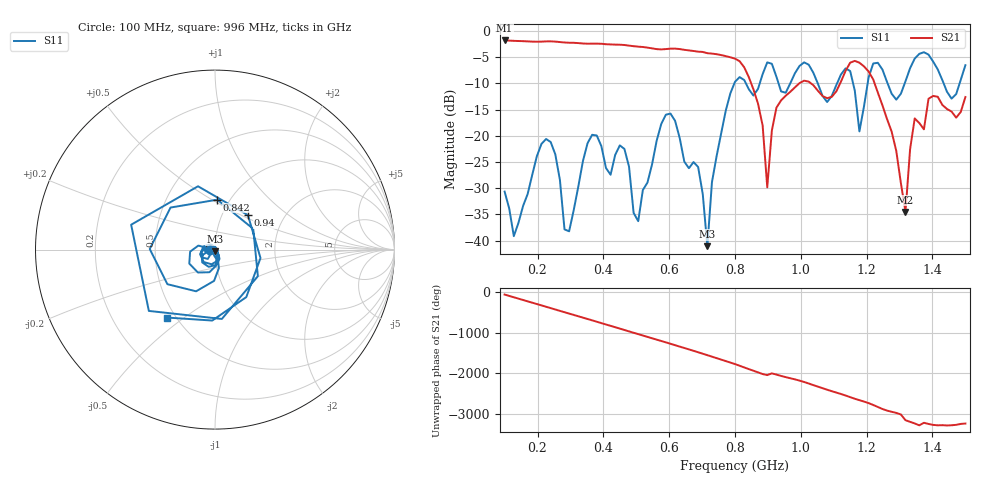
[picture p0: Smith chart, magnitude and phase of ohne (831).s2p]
! NanoVNA-App
! Date: 2025-09-25 14:27:16
! Start: 100MHz Stop: 1,5GHz Points: 101
! S-Parameter data: F S11 S21 S12 S22
# Hz S RI R 50
!  Frequency  S11_Real  S11_Imag  S21_Real  S21_Imag  S12_Real  S12_Imag  S22_Real  S22_Imag
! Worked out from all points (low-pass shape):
!   101 points, 100 MHz to 1.5 GHz, reference 50 ohm
!   highest |S21| = -1.79 dB at 100 MHz (marker M1); lowest = -34.5 dB at 1.318 GHz (marker M2)
!   |S21| within 3 dB of the highest: start of sweep to 772.5 MHz
!   lowest |S11| = -41.1 dB at 716 MHz (marker M3), VSWR 1.02, Z = 49.8 - j0.87 ohm
!   |S11| at or under -10 dB: start of sweep to 798 MHz; 833.2 MHz to 875.1 MHz (41.89 MHz wide, 4.9 % of centre); 1.052 GHz to 1.11 GHz (58.45 MHz wide, 5.41 % of centre) (the widest 3 of 7)
!   S12 and S22 are empty: the file has one direction only
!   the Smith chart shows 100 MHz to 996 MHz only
!   S11 on the Smith chart (normalised r, x): 100 MHz: 0.94, -0.01; 842 MHz: 0.88, +0.53; 940 MHz: 1.32, +0.55; 996 MHz: 0.45, -0.43
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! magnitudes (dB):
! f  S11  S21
! 100 MHz  -30.6  -1.8
! 128 MHz  -39.1  -1.9
! 226 MHz  -20.6  -2.0
! 296 MHz  -38.2  -2.2
! 338 MHz  -24.8  -2.4
! 464 MHz  -22.5  -2.7
! 506 MHz  -36.3  -3.0
! 576 MHz  -17.7  -3.5
! 688 MHz  -25.9  -3.9
! 716 MHz  -41.1  -4.2
! 800 MHz  -9.7  -5.3
! 842 MHz  -11.1  -8.8
! 898 MHz  -6.0  -29.8
! 940 MHz  -11.5  -13.2
! 996 MHz  -6.7  -9.9
! 1.038 GHz  -8.0  -10.3
! 1.178 GHz  -19.2  -6.0
! 1.22 GHz  -6.2  -9.3
! 1.276 GHz  -12.0  -19.2
! 1.318 GHz  -9.6  -34.5
! 1.346 GHz  -5.3  -16.7
! 1.5 GHz  -6.5  -12.6
